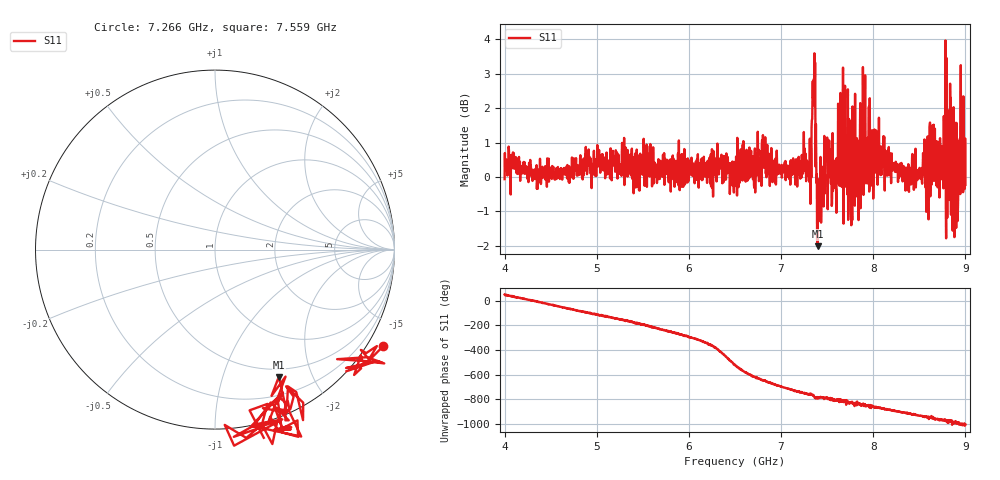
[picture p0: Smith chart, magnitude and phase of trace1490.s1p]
! Created with skrf 1.8.0 (http://scikit-rf.org).
# Hz S RI R 50.0
!freq ReS11 ImS11
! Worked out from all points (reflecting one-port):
!   1601 points, 4 GHz to 9 GHz, reference 50 ohm
!   lowest |S11| = -2.0 dB at 7.397 GHz (marker M1), VSWR 8.70, Z = 20.1 - j77.2 ohm
!   phase of S11 starts at 50 deg and turns -1054 deg over the sweep
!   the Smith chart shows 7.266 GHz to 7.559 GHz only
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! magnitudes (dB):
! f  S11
! 4 GHz  -0.1
! 4.625 GHz  -0.1
! 5.25 GHz  0.2
! 5.875 GHz  0.2
! 6.331 GHz  0.5
! 6.5 GHz  -0.2
! 6.806 GHz  0.7
! 7.125 GHz  0.1
! 7.303 GHz  0.3
! 7.356 GHz  2.8
! 7.397 GHz  -2.0
! 7.416 GHz  -0.9
! 7.503 GHz  0.7
! 7.588 GHz  0.2
! 7.669 GHz  1.9
! 7.75 GHz  0.1
! 7.784 GHz  0.0
! 7.8 GHz  -0.8
! 7.891 GHz  1.2
! 8.375 GHz  -0.1
! 8.547 GHz  0.7
! 8.584 GHz  1.0
! 8.631 GHz  1.0
! 8.738 GHz  0.9
! 8.819 GHz  0.7
! 8.875 GHz  -0.1
! 8.959 GHz  2.1
! 9 GHz  -0.2
